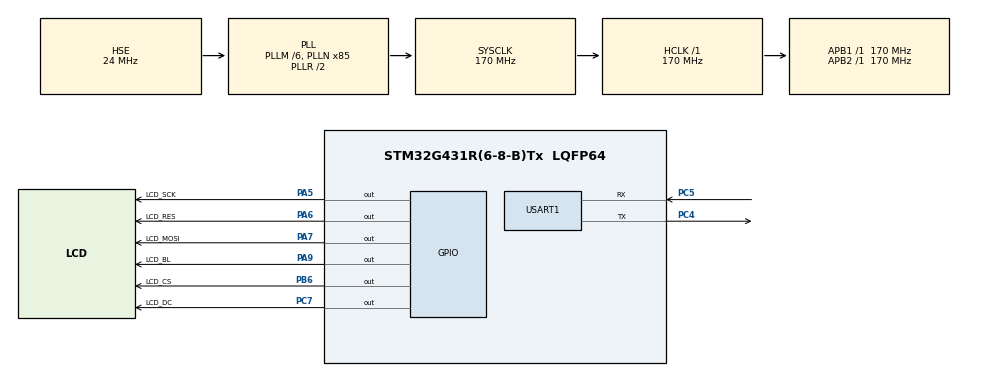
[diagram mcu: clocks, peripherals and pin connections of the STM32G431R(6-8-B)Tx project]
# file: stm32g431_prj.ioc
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Mcu.Family=STM32G4
Mcu.Name=STM32G431R(6-8-B)Tx
Mcu.Package=LQFP64
NVIC.PriorityGroup=NVIC_PRIORITYGROUP_4
PA13.Mode=Serial_Wire
PA13.Signal=SYS_JTMS-SWDIO
PA14.Mode=Serial_Wire
PA14.Signal=SYS_JTCK-SWCLK
PA5.GPIO_Label=LCD_SCK
PA5.GPIO_PuPd=GPIO_PULLUP
PA5.GPIO_Speed=GPIO_SPEED_FREQ_VERY_HIGH
PA5.PinState=GPIO_PIN_SET
PA5.Signal=GPIO_Output
PA6.GPIO_Label=LCD_RES
PA6.GPIO_PuPd=GPIO_PULLUP
PA6.GPIO_Speed=GPIO_SPEED_FREQ_VERY_HIGH
PA6.PinState=GPIO_PIN_SET
PA6.Signal=GPIO_Output
PA7.GPIO_Label=LCD_MOSI
PA7.GPIO_PuPd=GPIO_PULLUP
PA7.GPIO_Speed=GPIO_SPEED_FREQ_VERY_HIGH
PA7.PinState=GPIO_PIN_SET
PA7.Signal=GPIO_Output
PA9.GPIO_Label=LCD_BL
PA9.GPIO_PuPd=GPIO_PULLUP
PA9.GPIO_Speed=GPIO_SPEED_FREQ_VERY_HIGH
PA9.PinState=GPIO_PIN_SET
PA9.Signal=GPIO_Output
PB6.GPIO_Label=LCD_CS
PB6.GPIO_PuPd=GPIO_PULLUP
PB6.GPIO_Speed=GPIO_SPEED_FREQ_VERY_HIGH
PB6.PinState=GPIO_PIN_SET
PB6.Signal=GPIO_Output
PC14-OSC32_IN.Mode=LSE-External-Oscillator
PC14-OSC32_IN.Signal=RCC_OSC32_IN
PC15-OSC32_OUT.Mode=LSE-External-Oscillator
PC15-OSC32_OUT.Signal=RCC_OSC32_OUT
PC4.Mode=Asynchronous
PC4.Signal=USART1_TX
PC5.Mode=Asynchronous
PC5.Signal=USART1_RX
PC7.GPIO_Label=LCD_DC
PC7.GPIO_PuPd=GPIO_PULLUP
PC7.GPIO_Speed=GPIO_SPEED_FREQ_VERY_HIGH
PC7.PinState=GPIO_PIN_SET
PC7.Signal=GPIO_Output
PF0-OSC_IN.Mode=HSE-External-Oscillator
PF0-OSC_IN.Signal=RCC_OSC_IN
PF1-OSC_OUT.Mode=HSE-External-Oscillator
PF1-OSC_OUT.Signal=RCC_OSC_OUT
ProjectManager.HeapSize=0x200
ProjectManager.StackSize=0x400
ProjectManager.TargetToolchain=Makefile
RCC.ADC12Freq_Value=170000000
RCC.AHBFreq_Value=170000000
RCC.APB1Freq_Value=170000000
RCC.APB1TimFreq_Value=170000000
RCC.APB2Freq_Value=170000000
RCC.APB2TimFreq_Value=170000000
RCC.CortexFreq_Value=170000000
RCC.EXTERNAL_CLOCK_VALUE=12288000
RCC.HCLKFreq_Value=170000000
RCC.HSE_VALUE=24000000
RCC.HSI48_VALUE=48000000
RCC.HSI_VALUE=16000000
RCC.PLLM=RCC_PLLM_DIV6
RCC.PLLN=85
RCC.PLLSourceVirtual=RCC_PLLSOURCE_HSE
RCC.SYSCLKFreq_VALUE=170000000
RCC.SYSCLKSource=RCC_SYSCLKSOURCE_PLLCLK
RCC.USBFreq_Value=170000000
RCC.VCOOutputFreq_Value=340000000
USART1.VirtualMode-Asynchronous=VM_ASYNC
VP_SYS_VS_DBSignals.Mode=DisableDeadBatterySignals
board=custom

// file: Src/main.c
/* USER CODE BEGIN Header */
/**
  ******************************************************************************
  * @file           : main.c
  * @brief          : Main program body
  ******************************************************************************
  * @attention
  *
  * Copyright (c) 2025 STMicroelectronics.
  * All rights reserved.
  *
  * This software is licensed under terms that can be found in the LICENSE file
  * in the root directory of this software component.
  * If no LICENSE file comes with this software, it is provided AS-IS.
  *
  ******************************************************************************
  */
/* USER CODE END Header */
#include "main.h"

/* USER CODE BEGIN Includes */
#include "uart.h"
#include "delay.h"
#include "sys.h"

#include "lcd_init.h"
#include "lcd.h"
/* USER CODE END Includes */

UART_HandleTypeDef huart1;

void SystemClock_Config(void);
static void MX_GPIO_Init(void);
static void MX_USART1_UART_Init(void);

int main(void)
{

  /* MCU Configuration--------------------------------------------------------*/

  /* Reset of all peripherals, Initializes the Flash interface and the Systick. */
  HAL_Init();

  /* Configure the system clock */
  SystemClock_Config();

  /* Initialize all configured peripherals */
  MX_GPIO_Init();
  MX_USART1_UART_Init();
  /* USER CODE BEGIN 2 */
  /* 初始化UART日志系统 */
  UART_Init(&huart1);
  UART_SetLogLevel(LOG_LEVEL_VERBOSE); // 设置日志级别为VERBOSE，输出任何级别的日志（调试阶段设为DEBUG/VERBOSE，其余时候设为INFO即可）

  LOG_I("系统初始化完成");
  LOG_D("当前系统时钟: %d MHz", HAL_RCC_GetSysClockFreq()/1000000);

  /* 初始化延时函数 */
  delay_init(170); // 170MHz系统时钟

  /* 初始化TFT LCD */
  LCD_Init();
  LCD_Fill(0,0,LCD_W,LCD_H,WHITE);

  /* USER CODE END 2 */

  /* Infinite loop */
  while (1)
  {

    /* USER CODE BEGIN 3 */
      // LCD_ShowChinese(10,10,"中景园电子",RED,WHITE,16,0);
      LCD_ShowString(24,30,"LCD_W:",RED,WHITE,16,0);
      LCD_ShowIntNum(72,30,LCD_W,3,RED,WHITE,16);
      LCD_ShowString(24,50,"LCD_H:",RED,WHITE,16,0);
      LCD_ShowIntNum(72,50,LCD_H,3,RED,WHITE,16);
      LCD_DrawPoint(10, 10, RED); // 在(10,10)画一个红点
      LCD_DrawPoint(20, 20, BLUE); // 在(20,20)画一个蓝点
      delay_ms(500);
      LCD_DrawPoint(10, 10, WHITE); // 擦除红点
      LCD_DrawPoint(20, 20, WHITE); // 擦除蓝点
      delay_ms(500);

      LOG_D("系统运行中...");
      /* 延时一小段时间，避免过快打印 */
      delay_ms(2000);
  }
  /* USER CODE END 3 */
}

void SystemClock_Config(void)
{
  RCC_OscInitTypeDef RCC_OscInitStruct = {0};
  RCC_ClkInitTypeDef RCC_ClkInitStruct = {0};

  /** Configure the main internal regulator output voltage
  */
  HAL_PWREx_ControlVoltageScaling(PWR_REGULATOR_VOLTAGE_SCALE1_BOOST);

  /** Initializes the RCC Oscillators according to the specified parameters
  * in the RCC_OscInitTypeDef structure.
  */
  RCC_OscInitStruct.OscillatorType = RCC_OSCILLATORTYPE_HSE;
  RCC_OscInitStruct.HSEState = RCC_HSE_ON;
  RCC_OscInitStruct.PLL.PLLState = RCC_PLL_ON;
  RCC_OscInitStruct.PLL.PLLSource = RCC_PLLSOURCE_HSE;
  RCC_OscInitStruct.PLL.PLLM = RCC_PLLM_DIV6;
  RCC_OscInitStruct.PLL.PLLN = 85;
  RCC_OscInitStruct.PLL.PLLP = RCC_PLLP_DIV2;
  RCC_OscInitStruct.PLL.PLLQ = RCC_PLLQ_DIV2;
  RCC_OscInitStruct.PLL.PLLR = RCC_PLLR_DIV2;
  if (HAL_RCC_OscConfig(&RCC_OscInitStruct) != HAL_OK)
  {
    Error_Handler();
  }

  /** Initializes the CPU, AHB and APB buses clocks
  */
  RCC_ClkInitStruct.ClockType = RCC_CLOCKTYPE_HCLK|RCC_CLOCKTYPE_SYSCLK
                              |RCC_CLOCKTYPE_PCLK1|RCC_CLOCKTYPE_PCLK2;
  RCC_ClkInitStruct.SYSCLKSource = RCC_SYSCLKSOURCE_PLLCLK;
  RCC_ClkInitStruct.AHBCLKDivider = RCC_SYSCLK_DIV1;
  RCC_ClkInitStruct.APB1CLKDivider = RCC_HCLK_DIV1;
  RCC_ClkInitStruct.APB2CLKDivider = RCC_HCLK_DIV1;

  if (HAL_RCC_ClockConfig(&RCC_ClkInitStruct, FLASH_LATENCY_4) != HAL_OK)
  {
    Error_Handler();
  }
}

static void MX_USART1_UART_Init(void)
{

  huart1.Instance = USART1;
  huart1.Init.BaudRate = 115200;
  huart1.Init.WordLength = UART_WORDLENGTH_8B;
  huart1.Init.StopBits = UART_STOPBITS_1;
  huart1.Init.Parity = UART_PARITY_NONE;
  huart1.Init.Mode = UART_MODE_TX_RX;
  huart1.Init.HwFlowCtl = UART_HWCONTROL_NONE;
  huart1.Init.OverSampling = UART_OVERSAMPLING_16;
  huart1.Init.OneBitSampling = UART_ONE_BIT_SAMPLE_DISABLE;
  huart1.Init.ClockPrescaler = UART_PRESCALER_DIV1;
  huart1.AdvancedInit.AdvFeatureInit = UART_ADVFEATURE_NO_INIT;
  if (HAL_UART_Init(&huart1) != HAL_OK)
  {
    Error_Handler();
  }
  if (HAL_UARTEx_SetTxFifoThreshold(&huart1, UART_TXFIFO_THRESHOLD_1_8) != HAL_OK)
  {
    Error_Handler();
  }
  if (HAL_UARTEx_SetRxFifoThreshold(&huart1, UART_RXFIFO_THRESHOLD_1_8) != HAL_OK)
  {
    Error_Handler();
  }
  if (HAL_UARTEx_DisableFifoMode(&huart1) != HAL_OK)
  {
    Error_Handler();
  }

}

static void MX_GPIO_Init(void)
{
  GPIO_InitTypeDef GPIO_InitStruct = {0};

  /* GPIO Ports Clock Enable */
  __HAL_RCC_GPIOC_CLK_ENABLE();
  __HAL_RCC_GPIOF_CLK_ENABLE();
  __HAL_RCC_GPIOA_CLK_ENABLE();
  __HAL_RCC_GPIOB_CLK_ENABLE();

  /*Configure GPIO pin Output Level */
  HAL_GPIO_WritePin(GPIOA, LCD_SCK_Pin|LCD_RES_Pin|LCD_MOSI_Pin|LCD_BL_Pin, GPIO_PIN_SET);

  /*Configure GPIO pin Output Level */
  HAL_GPIO_WritePin(LCD_DC_GPIO_Port, LCD_DC_Pin, GPIO_PIN_SET);

  /*Configure GPIO pin Output Level */
  HAL_GPIO_WritePin(LCD_CS_GPIO_Port, LCD_CS_Pin, GPIO_PIN_SET);

  /*Configure GPIO pins : LCD_SCK_Pin LCD_RES_Pin LCD_MOSI_Pin LCD_BL_Pin */
  GPIO_InitStruct.Pin = LCD_SCK_Pin|LCD_RES_Pin|LCD_MOSI_Pin|LCD_BL_Pin;
  GPIO_InitStruct.Mode = GPIO_MODE_OUTPUT_PP;
  GPIO_InitStruct.Pull = GPIO_PULLUP;
  GPIO_InitStruct.Speed = GPIO_SPEED_FREQ_HIGH;
  HAL_GPIO_Init(GPIOA, &GPIO_InitStruct);

  /*Configure GPIO pin : LCD_DC_Pin */
  GPIO_InitStruct.Pin = LCD_DC_Pin;
  GPIO_InitStruct.Mode = GPIO_MODE_OUTPUT_PP;
  GPIO_InitStruct.Pull = GPIO_PULLUP;
  GPIO_InitStruct.Speed = GPIO_SPEED_FREQ_HIGH;
  HAL_GPIO_Init(LCD_DC_GPIO_Port, &GPIO_InitStruct);

  /*Configure GPIO pin : LCD_CS_Pin */
  GPIO_InitStruct.Pin = LCD_CS_Pin;
  GPIO_InitStruct.Mode = GPIO_MODE_OUTPUT_PP;
  GPIO_InitStruct.Pull = GPIO_PULLUP;
  GPIO_InitStruct.Speed = GPIO_SPEED_FREQ_HIGH;
  HAL_GPIO_Init(LCD_CS_GPIO_Port, &GPIO_InitStruct);

  /**/
  __HAL_SYSCFG_FASTMODEPLUS_ENABLE(SYSCFG_FASTMODEPLUS_PB6);

}

void Error_Handler(void)
{
  __disable_irq();
  while (1)
  {
  }
}
